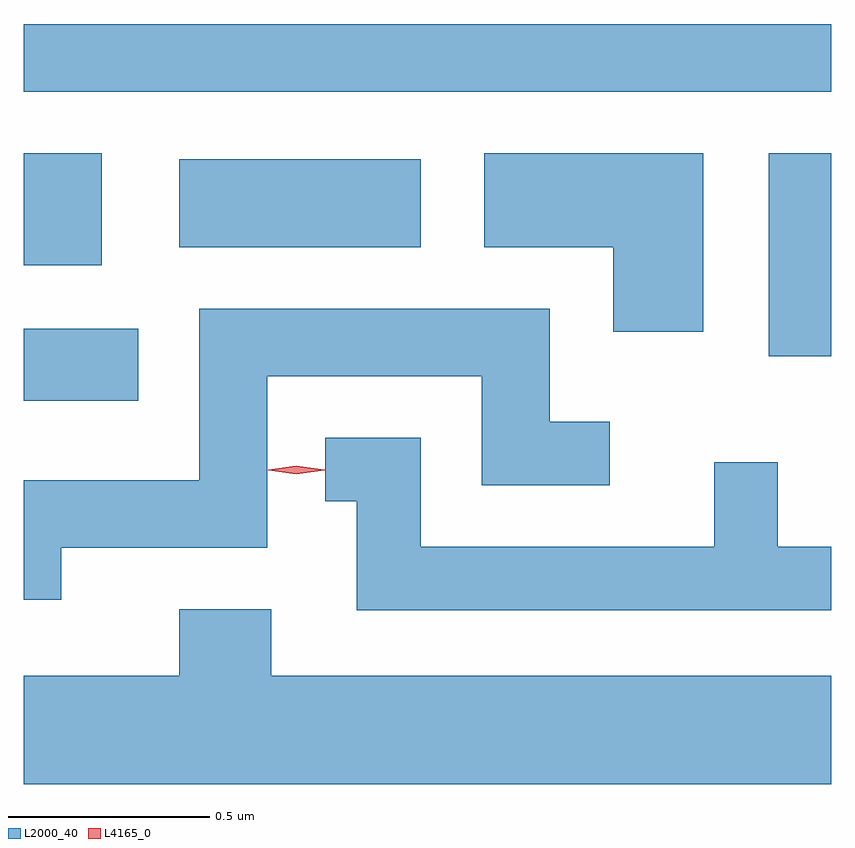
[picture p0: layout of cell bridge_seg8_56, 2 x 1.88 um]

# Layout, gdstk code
import gdstk
lib = gdstk.Library(unit=1e-6, precision=1e-09)
def R(c, l, rs):  # rectangles x0, y0, x1, y1
    for r in rs: c.add(gdstk.rectangle(r[:2], r[2:], *l))
def P(c, l, *ps):  # polygons
    for p in ps: c.add(gdstk.Polygon(p, *l))
L2000_40 = (2000, 40)
L4165_0 = (4165, 0)

bridge_seg8_56 = lib.new_cell('bridge_seg8_56')
R(bridge_seg8_56, L2000_40, [(1486.926,1906.186,1487.209,1906.364), (1488.771,1906.296,1488.926,1906.799), (1486.926,1906.521,1487.119,1906.799), (1487.311,1906.566,1487.909,1906.784), (1486.926,1906.951,1488.926,1907.119)])
P(bridge_seg8_56, L2000_40, [(1488.609,1906.799),(1488.066,1906.799),(1488.066,1906.566),(1488.386,1906.566),(1488.386,1906.356),(1488.609,1906.356)],
  [(1487.019,1905.821),(1487.529,1905.821),(1487.529,1906.246),(1488.061,1906.246),(1488.061,1905.976),(1488.378,1905.976),(1488.378,1906.134),(1488.229,1906.134),(1488.229,1906.414),(1487.361,1906.414),(1487.361,1905.989),(1486.926,1905.989),(1486.926,1905.693),(1487.019,1905.693)],
  [(1488.926,1905.824),(1488.794,1905.824),(1488.794,1906.033),(1488.636,1906.033),(1488.636,1905.824),(1487.909,1905.824),(1487.909,1906.094),(1487.673,1906.094),(1487.673,1905.936),(1487.751,1905.936),(1487.751,1905.666),(1488.926,1905.666)],
  [(1488.926,1905.504),(1487.539,1905.504),(1487.539,1905.669),(1487.311,1905.669),(1487.311,1905.504),(1486.926,1905.504),(1486.926,1905.236),(1488.926,1905.236)])
P(bridge_seg8_56, L4165_0, [(1487.601,1906.004),(1487.532,1906.013),(1487.532,1906.014),(1487.532,1906.014),(1487.601,1906.024),(1487.671,1906.014),(1487.671,1906.014),(1487.671,1906.013)])

lib.write_gds('bridge_seg8_56.gds')
